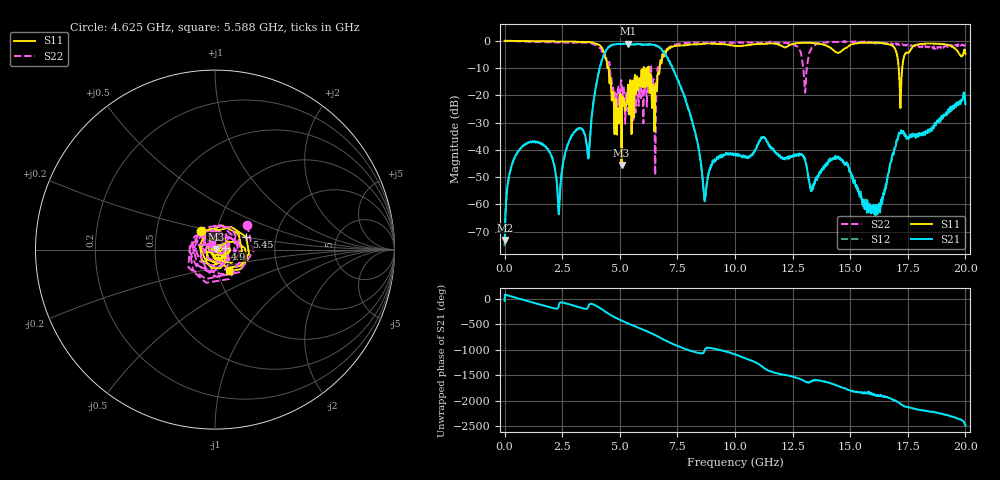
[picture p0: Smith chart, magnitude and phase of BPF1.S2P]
!Agilent Technologies,E5071C,MY46215201,A.10.06
!Date: Mon Jul 01 14:52:51 2019
!Data & Calibration Information:
!Freq	S11:SOLT2(ON)	S21:SOLT2(ON)	S12:SOLT2(ON)	S22:SOLT2(ON)
!PortZ  Port1:50+j0  Port2:50+j0
!Above PortZ is port z conversion or system Z0 setting when saving the data.
!When reading, reference impedance value at option line is always used.
# Hz S dB R 50
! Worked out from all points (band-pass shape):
!   1601 points, 300 kHz to 20 GHz, reference 50 ohm
!   highest |S21| = -1.00 dB at 5.35 GHz (marker M1); lowest = -73.0 dB at 12.8 MHz (marker M2)
!   |S21| within 3 dB of the highest: 4.374 GHz to 6.902 GHz (2.527 GHz wide, 44.8 % of centre)
!   lowest |S11| = -45.5 dB at 5.075 GHz (marker M3), VSWR 1.01, Z = 50.4 + j0.299 ohm
!   |S11| at or under -10 dB: 4.515 GHz to 6.03 GHz (1.516 GHz wide, 28.7 % of centre); 6.048 GHz to 6.232 GHz (183.1 MHz wide, 2.98 % of centre); 6.255 GHz to 6.733 GHz (477.9 MHz wide, 7.36 % of centre)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
!   |S22| runs from -49.3 to 0.1 dB; largest |S21 - S12| = 0.019
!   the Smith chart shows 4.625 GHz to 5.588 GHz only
!   S11 on the Smith chart (normalised r, x): 4.625 GHz: 0.83, +0.18; 4.9 GHz: 1.12, +0.01; 5.45 GHz: 1.40, +0.21; 5.588 GHz: 1.14, -0.28
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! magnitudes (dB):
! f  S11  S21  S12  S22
! 300 kHz  0.0  -67.9  -75.3  0.0
! 12.8 MHz  0.0  -73.0  -72.0  0.1
! 650.3 MHz  0.0  -39.9  -39.8  -0.2
! 1.788 GHz  -0.2  -38.8  -38.8  -0.5
! 2.35 GHz  -0.3  -63.7  -63.2  -0.6
! 3.338 GHz  -0.4  -32.3  -32.4  -0.7
! 3.638 GHz  -0.4  -43.2  -43.2  -0.8
! 4.625 GHz  -17.5  -1.7  -1.7  -12.9
! 4.9 GHz  -25.0  -1.2  -1.2  -21.9
! 5.075 GHz  -45.5  -1.2  -1.2  -15.0
! 5.35 GHz  -17.0  -1.0  -1.0  -20.3
! 5.45 GHz  -14.5  -1.2  -1.2  -16.5
! 5.588 GHz  -16.8  -1.3  -1.3  -29.1
! 6.675 GHz  -11.6  -2.1  -2.1  -10.7
! 8.675 GHz  -1.1  -58.3  -57.5  -0.6
! 10 GHz  -1.8  -41.5  -41.4  -0.6
! 13.34 GHz  -0.8  -54.3  -54.4  -2.5
! 14.48 GHz  -4.4  -42.4  -43.0  -0.4
! 16.13 GHz  -0.7  -62.2  -63.2  -0.7
! 16.68 GHz  -1.3  -48.4  -48.1  -0.9
! 17.19 GHz  -23.9  -33.4  -33.1  -1.2
! 20 GHz  -4.8  -23.4  -23.2  -1.9
